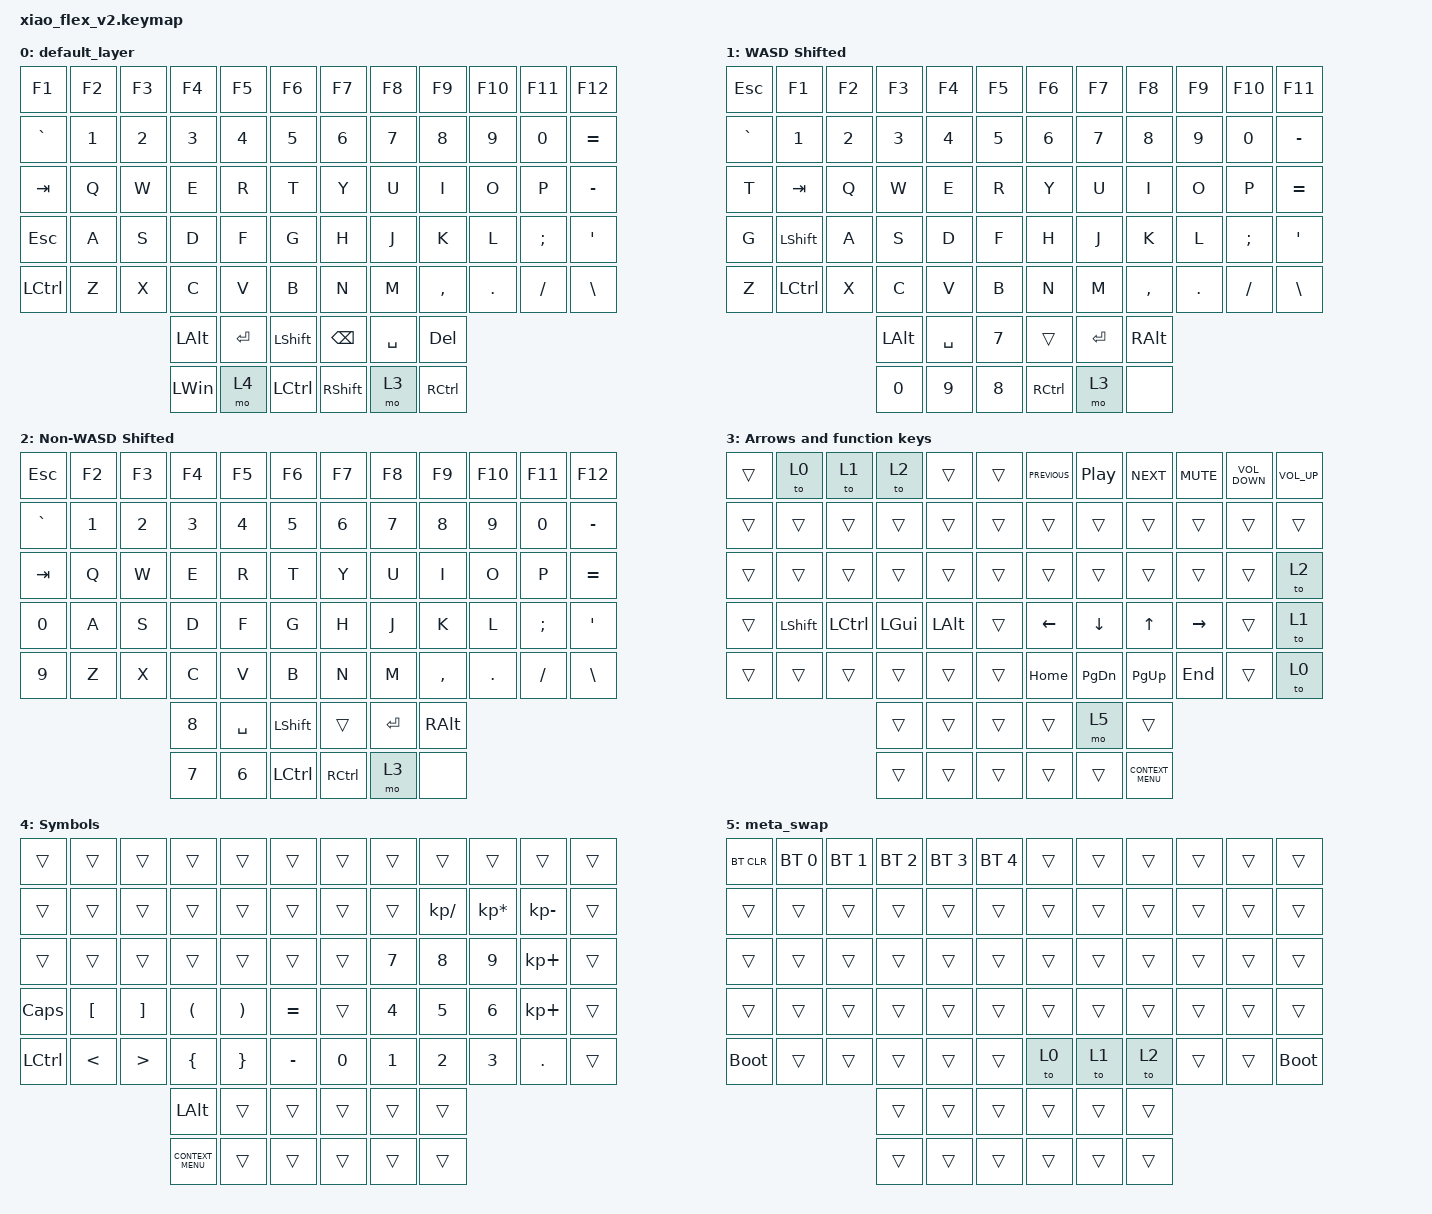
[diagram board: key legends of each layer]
/*
 * Copyright (c) 2020 The ZMK Contributors
 *
 * SPDX-License-Identifier: MIT
 */

#include <behaviors.dtsi>
#include <dt-bindings/zmk/bt.h>
#include <dt-bindings/zmk/keys.h>

/ {
    keymap {
        compatible = "zmk,keymap";

        default_layer {
            // ------------------------------------------------------------------------------------------------------------
            // |  ESC   |  1  |  2  |  3   |  4   |  5   |                    |  6   |  7    |  8    |  9   |   0   |   `   |
            // |  TAB   |  Q  |  W  |  E   |  R   |  T   |                    |  Y   |  U    |  I    |  O   |   P   |   -   |
            // |  CTRL  |  A  |  S  |  D   |  F   |  G   |                    |  H   |  J    |  K    |  L   |   ;   |   '   |
            // | SHIFT  |  Z  |  X  |  C   |  V   |  B   |                    |  N   |  M    |  ,    |  .   |   /   | SHIFT |
            // |    2   |  2  | f   | 6    | 4    | 1    |                    | 2    | 1     | w     | s    | n     |  a    |

            bindings = <
&kp F1            &kp F2  &kp F3  &kp F4        &kp F5     &kp F6              &kp F7           &kp F8     &kp F9      &kp F10  &kp F11   &kp F12
&kp GRAVE         &kp N1  &kp N2  &kp N3        &kp N4     &kp N5              &kp N6           &kp N7     &kp N8      &kp N9   &kp N0    &kp EQUAL
&kp TAB           &kp Q   &kp W   &kp E         &kp R      &kp T               &kp Y            &kp U      &kp I       &kp O    &kp P     &kp MINUS
&kp ESCAPE        &kp A   &kp S   &kp D         &kp F      &kp G               &kp H            &kp J      &kp K       &kp L    &kp SEMI  &kp SQT
&kp LEFT_CONTROL  &kp Z   &kp X   &kp C         &kp V      &kp B               &kp N            &kp M      &kp COMMA   &kp DOT  &kp FSLH  &kp BSLH
                                  &kp LEFT_ALT  &kp ENTER  &kp LEFT_SHIFT      &kp BACKSPACE    &kp SPACE  &kp DELETE
                                  &kp LEFT_WIN  &mo 4      &kp LEFT_CONTROL    &kp RIGHT_SHIFT  &mo 3      &kp RCTRL
            >;
        };

        FPS_Gaming {
            bindings = <
&kp ESCAPE  &kp F1     &kp F2  &kp F3        &kp F4     &kp F5    &kp F6             &kp F7     &kp F8         &kp F9   &kp F10   &kp F11
&kp GRAVE   &kp N1     &kp N2  &kp N3        &kp N4     &kp N5    &kp N6             &kp N7     &kp N8         &kp N9   &kp N0    &kp MINUS
&kp T       &kp TAB    &kp Q   &kp W         &kp E      &kp R     &kp Y              &kp U      &kp I          &kp O    &kp P     &kp EQUAL
&kp G       &kp LSHFT  &kp A   &kp S         &kp D      &kp F     &kp H              &kp J      &kp K          &kp L    &kp SEMI  &kp SQT
&kp Z       &kp LCTRL  &kp X   &kp C         &kp V      &kp B     &kp N              &kp M      &kp COMMA      &kp DOT  &kp FSLH  &kp BSLH
                               &kp LEFT_ALT  &kp SPACE  &kp N7    &trans             &kp ENTER  &kp RIGHT_ALT
                               &kp N0        &kp N9     &kp N8    &kp RIGHT_CONTROL  &mo 3      &none
            >;

            label = "WASD Shifted";
        };

        sc2 {
            label = "Non-WASD Shifted";
            bindings = <
&kp ESCAPE  &kp F2  &kp F3  &kp F4  &kp F5     &kp F6              &kp F7             &kp F8     &kp F9         &kp F10  &kp F11   &kp F12
&kp GRAVE   &kp N1  &kp N2  &kp N3  &kp N4     &kp N5              &kp N6             &kp N7     &kp N8         &kp N9   &kp N0    &kp MINUS
&kp TAB     &kp Q   &kp W   &kp E   &kp R      &kp T               &kp Y              &kp U      &kp I          &kp O    &kp P     &kp EQUAL
&kp N0      &kp A   &kp S   &kp D   &kp F      &kp G               &kp H              &kp J      &kp K          &kp L    &kp SEMI  &kp SQT
&kp N9      &kp Z   &kp X   &kp C   &kp V      &kp B               &kp N              &kp M      &kp COMMA      &kp DOT  &kp FSLH  &kp BSLH
                            &kp N8  &kp SPACE  &kp LEFT_SHIFT      &trans             &kp ENTER  &kp RIGHT_ALT
                            &kp N7  &kp N6     &kp LEFT_CONTROL    &kp RIGHT_CONTROL  &mo 3      &none
            >;
        };

        Movement {
            bindings = <
&trans  &to 0           &to 1             &to 2         &trans        &trans    &kp C_PREVIOUS  &kp C_PLAY_PAUSE  &kp C_NEXT          &kp C_MUTE  &kp C_VOLUME_DOWN  &kp C_VOLUME_UP
&trans  &trans          &trans            &trans        &trans        &trans    &trans          &trans            &trans              &trans      &trans             &trans
&trans  &trans          &trans            &trans        &trans        &trans    &trans          &trans            &trans              &trans      &trans             &to 2
&trans  &kp LEFT_SHIFT  &kp LEFT_CONTROL  &kp LEFT_GUI  &kp LEFT_ALT  &trans    &kp LEFT        &kp DOWN          &kp UP_ARROW        &kp RIGHT   &trans             &to 1
&trans  &trans          &trans            &trans        &trans        &trans    &kp HOME        &kp PAGE_DOWN     &kp PG_UP           &kp END     &trans             &to 0
                                          &trans        &trans        &trans    &trans          &mo 5             &trans
                                          &trans        &trans        &trans    &trans          &trans            &kp K_CONTEXT_MENU
            >;

            label = "Arrows and function keys";
        };

        Symbols {
            bindings = <
&trans            &trans            &trans             &trans                &trans                 &trans       &trans  &trans        &trans        &trans           &trans        &trans
&trans            &trans            &trans             &trans                &trans                 &trans       &trans  &trans        &kp KP_SLASH  &kp KP_MULTIPLY  &kp KP_MINUS  &trans
&trans            &trans            &trans             &trans                &trans                 &trans       &trans  &kp NUMBER_7  &kp N8        &kp N9           &kp KP_PLUS   &trans
&kp CAPSLOCK      &kp LEFT_BRACKET  &kp RIGHT_BRACKET  &kp LEFT_PARENTHESIS  &kp RIGHT_PARENTHESIS  &kp EQUAL    &trans  &kp NUMBER_4  &kp N5        &kp NUMBER_6     &kp KP_PLUS   &trans
&kp LEFT_CONTROL  &kp LESS_THAN     &kp GREATER_THAN   &kp LEFT_BRACE        &kp RIGHT_BRACE        &kp MINUS    &kp N0  &kp NUMBER_1  &kp NUMBER_2  &kp NUMBER_3     &kp DOT       &trans
                                                       &kp LEFT_ALT          &trans                 &trans       &trans  &trans        &trans
                                                       &kp K_CONTEXT_MENU    &trans                 &trans       &trans  &trans        &trans
            >;
        };

        meta_swap {
            bindings = <
&bt BT_CLR   &bt BT_SEL 0  &bt BT_SEL 1  &bt BT_SEL 2  &bt BT_SEL 3  &bt BT_SEL 4    &trans  &trans  &trans  &trans  &trans  &trans
&trans       &trans        &trans        &trans        &trans        &trans          &trans  &trans  &trans  &trans  &trans  &trans
&trans       &trans        &trans        &trans        &trans        &trans          &trans  &trans  &trans  &trans  &trans  &trans
&trans       &trans        &trans        &trans        &trans        &trans          &trans  &trans  &trans  &trans  &trans  &trans
&bootloader  &trans        &trans        &trans        &trans        &trans          &to 0   &to 1   &to 2   &trans  &trans  &bootloader
                                         &trans        &trans        &trans          &trans  &trans  &trans
                                         &trans        &trans        &trans          &trans  &trans  &trans
            >;
        };
    };
};
